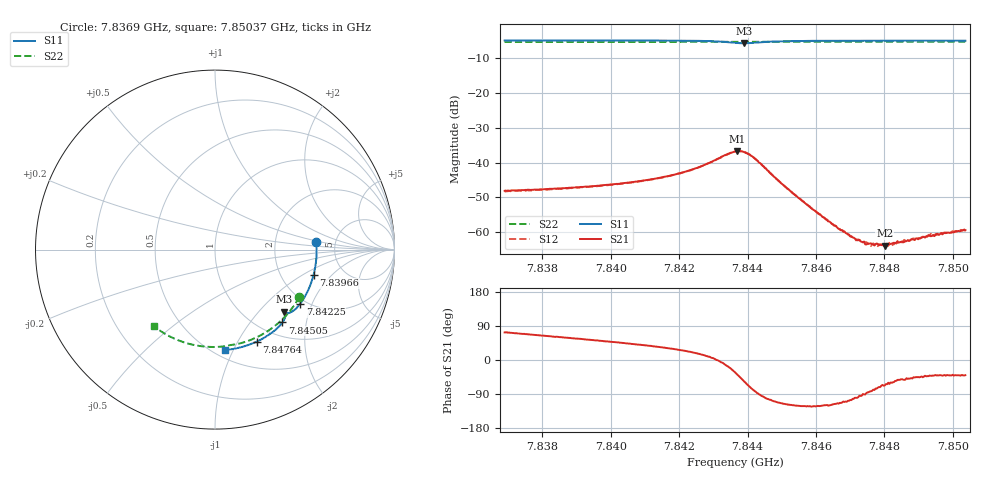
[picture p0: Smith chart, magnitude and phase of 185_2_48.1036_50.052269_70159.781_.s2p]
#  HZ  S  RI  R  50.00
! Rohde & Schwarz Vector Network Analyzer
! Rohde-Schwarz,ZNB20-2Port,1311601062101988,3.16
! Created: UTC 12/23/2023, 3:53:11 AM
! freq[Hz]  re:S11  im:S11  re:S21  im:S21  re:S12  im:S12  re:S22  im:S22
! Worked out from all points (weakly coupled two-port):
!   401 points, 7.8369 GHz to 7.85037 GHz, reference 50 ohm
!   highest |S21| = -36.69 dB at 7.8437 GHz (marker M1); lowest = -63.9 dB at 7.84801 GHz (marker M2)
!   lowest |S11| = -5.7 dB at 7.8439 GHz (marker M3), VSWR 3.14, Z = 73.6 - j69.3 ohm
!   |S11| at or under -10 dB: nowhere
!   |S22| runs from -5.4 to -5.3 dB; largest |S21 - S12| = 0.00038
!   S11 on the Smith chart (normalised r, x): 7.8369 GHz: 3.55, +0.45; 7.83966 GHz: 3.05, -1.26; 7.84225 GHz: 1.86, -1.65; 7.84505 GHz: 1.25, -1.46; 7.84764 GHz: 0.80, -1.20; 7.85037 GHz: 0.57, -0.93
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7.836896e9  0.5645 0.0427  0.00117 0.00376  0.00117 0.00371  0.4706 -0.2638
7.839152e9  0.5568 -0.1069  0.00254 0.00368  0.00253 0.00364  0.375 -0.3888
7.839658e9  0.5492 -0.1401  0.00294 0.00361  0.00291 0.00359  0.3488 -0.4127
7.841409e9  0.5066 -0.2516  0.00499 0.00339  0.00492 0.00339  0.2471 -0.4815
7.842251e9  0.4744 -0.3028  0.00701 0.00291  0.00696 0.00296  0.1929 -0.5056
7.843127e9  0.4243 -0.3481  0.0114 -0.000106  0.0113 -4.19e-05  0.134 -0.5235
7.843632e9  0.389 -0.3519  0.0122 -0.00776  0.0122 -0.00762  0.1003 -0.5297
7.843699e9  0.3863 -0.3501  0.0115 -0.00908  0.0115 -0.00885  0.096 -0.5304
7.843901e9  0.3845 -0.345  0.00775 -0.0118  0.00782 -0.012  0.0833 -0.5324
7.844205e9  0.3918 -0.3509  0.00165 -0.0115  0.00157 -0.0114  0.0637 -0.5365
7.845047e9  0.3757 -0.4059  -0.00206 -0.00429  -0.00205 -0.00432  0.00495 -0.5426
7.845889e9  0.334 -0.4495  -0.00116 -0.00182  -0.00119 -0.00186  -0.0544 -0.5408
7.846596e9  0.2944 -0.4785  -0.000519 -0.00109  -0.000506 -0.00111  -0.1037 -0.534
7.846933e9  0.2747 -0.4907  -0.000284 -0.000886  -0.000299 -0.000903  -0.1269 -0.5293
7.847404e9  0.2466 -0.5058  -9.87e-06 -0.000738  9.96e-06 -0.000725  -0.1588 -0.5208
7.84764e9  0.2323 -0.5126  0.000103 -0.000666  0.000103 -0.000668  -0.1747 -0.516
7.848011e9  0.2095 -0.5226  0.000248 -0.000591  0.000272 -0.000616  -0.1991 -0.507
7.848145e9  0.2011 -0.5257  0.000301 -0.000596  0.000331 -0.000624  -0.2079 -0.5038
7.84828e9  0.1926 -0.5289  0.000375 -0.000601  0.000362 -0.00057  -0.2168 -0.5002
7.849223e9  0.1323 -0.547  0.000642 -0.000599  0.000644 -0.00058  -0.2758 -0.4707
7.850267e9  0.064 -0.5587  0.000826 -0.000676  0.000803 -0.000684  -0.3366 -0.43
7.850368e9  0.0572 -0.5593  0.000821 -0.000692  0.000792 -0.000672  -0.3421 -0.4256
